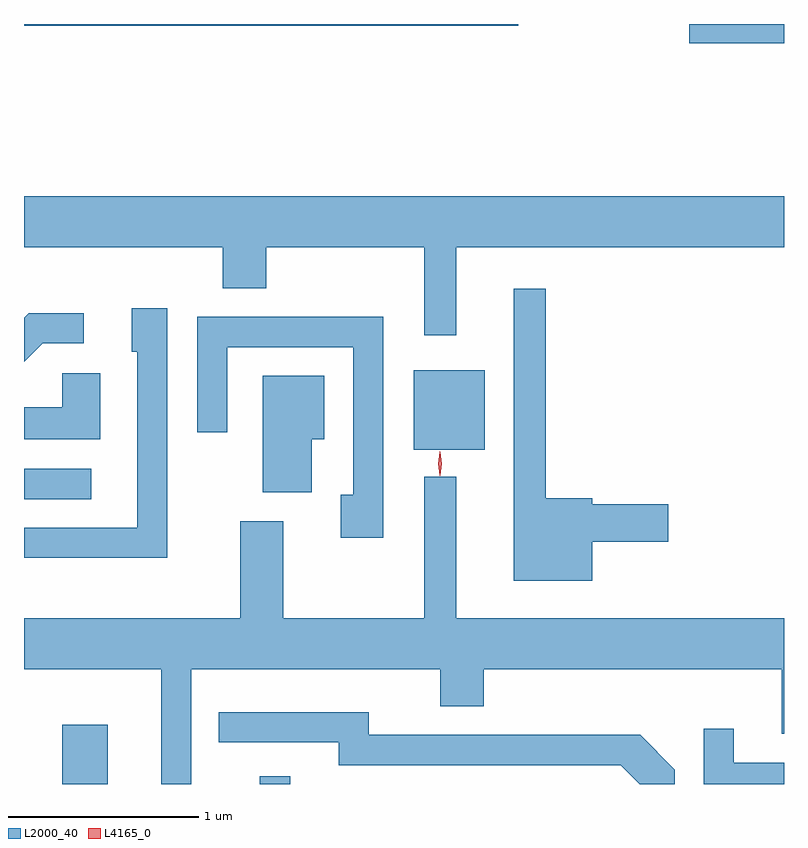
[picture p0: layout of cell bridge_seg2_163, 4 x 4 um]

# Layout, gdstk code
import gdstk
lib = gdstk.Library(unit=1e-6, precision=1e-09)
def R(c, l, rs):  # rectangles x0, y0, x1, y1
    for r in rs: c.add(gdstk.rectangle(r[:2], r[2:], *l))
def P(c, l, *ps):  # polygons
    for p in ps: c.add(gdstk.Polygon(p, *l))
L2000_40 = (2000, 40)
L4165_0 = (4165, 0)

bridge_seg2_163 = lib.new_cell('bridge_seg2_163')
R(bridge_seg2_163, L2000_40, [(820.246,1083.231,820.484,1083.544), (821.286,1083.231,821.444,1083.273), (820.044,1084.731,820.398,1084.889), (822.096,1084.991,822.469,1085.409), (823.546,1087.131,824.044,1087.231), (820.044,1087.221,822.644,1087.231)])
P(bridge_seg2_163, L2000_40, [(822.319,1086.056),(824.044,1086.056),(824.044,1086.324),(820.044,1086.324),(820.044,1086.056),(821.091,1086.056),(821.091,1085.841),(821.319,1085.841),(821.319,1086.056),(822.151,1086.056),(822.151,1085.593),(822.319,1085.593)],
  [(823.034,1084.506),(823.434,1084.506),(823.434,1084.704),(823.034,1084.704),(823.034,1084.734),(822.789,1084.734),(822.789,1085.838),(822.621,1085.838),(822.621,1084.301),(823.034,1084.301)],
  [(820.799,1085.734),(820.611,1085.734),(820.611,1085.506),(820.641,1085.506),(820.641,1084.579),(820.044,1084.579),(820.044,1084.421),(820.799,1084.421)],
  [(820.142,1085.551),(820.358,1085.551),(820.358,1085.709),(820.069,1085.709),(820.044,1085.684),(820.044,1085.453)],
  [(821.934,1085.689),(820.956,1085.689),(820.956,1085.083),(821.114,1085.083),(821.114,1085.531),(821.776,1085.531),(821.776,1084.754),(821.711,1084.754),(821.711,1084.526),(821.934,1084.526)],
  [(820.444,1085.394),(820.246,1085.394),(820.246,1085.214),(820.044,1085.214),(820.044,1085.046),(820.444,1085.046)],
  [(821.559,1085.046),(821.624,1085.046),(821.624,1085.379),(821.301,1085.379),(821.301,1084.766),(821.559,1084.766)],
  [(820.924,1083.836),(822.236,1083.836),(822.236,1083.641),(822.464,1083.641),(822.464,1083.836),(824.031,1083.836),(824.031,1083.496),(824.044,1083.496),(824.044,1084.104),(822.319,1084.104),(822.319,1084.848),(822.151,1084.848),(822.151,1084.104),(821.409,1084.104),(821.409,1084.614),(821.181,1084.614),(821.181,1084.104),(820.044,1084.104),(820.044,1083.836),(820.766,1083.836),(820.766,1083.231),(820.924,1083.231)],
  [(823.469,1083.307),(823.287,1083.489),(821.859,1083.489),(821.859,1083.609),(821.068,1083.609),(821.068,1083.451),(821.701,1083.451),(821.701,1083.331),(823.184,1083.331),(823.284,1083.231),(823.469,1083.231)],
  [(824.044,1083.344),(823.779,1083.344),(823.779,1083.523),(823.621,1083.523),(823.621,1083.231),(824.044,1083.231)])
P(bridge_seg2_163, L4165_0, [(822.233,1084.853),(822.223,1084.917),(822.232,1084.981),(822.233,1084.982),(822.234,1084.981),(822.243,1084.917),(822.234,1084.853),(822.234,1084.853)])

lib.write_gds('bridge_seg2_163.gds')
